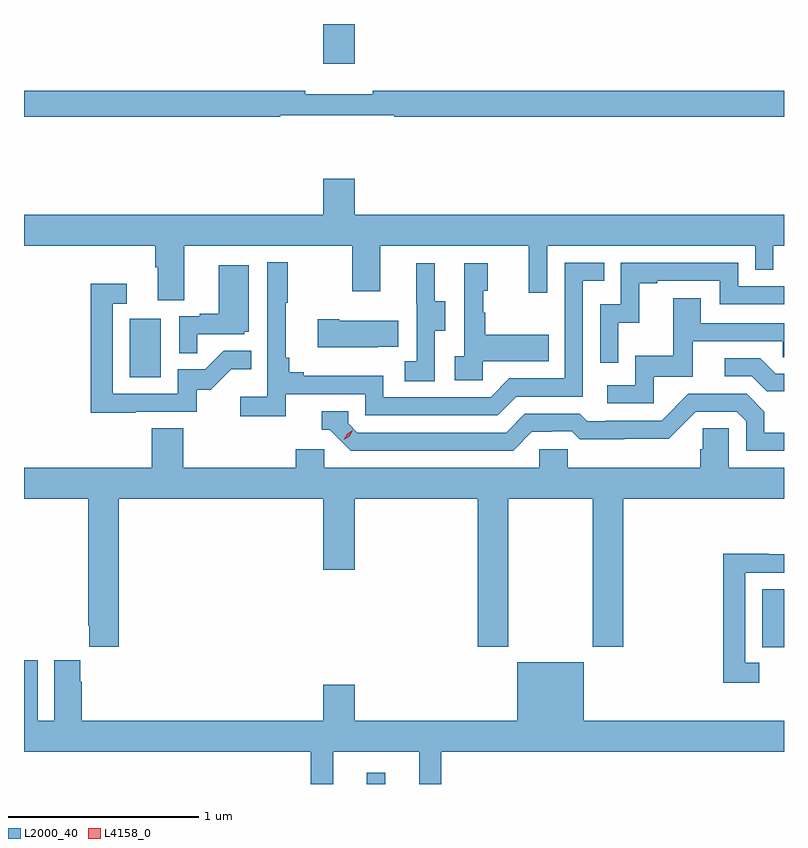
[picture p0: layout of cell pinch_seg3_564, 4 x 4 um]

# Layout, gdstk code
import gdstk
lib = gdstk.Library(unit=1e-6, precision=1e-09)
def R(c, l, rs):  # rectangles x0, y0, x1, y1
    for r in rs: c.add(gdstk.rectangle(r[:2], r[2:], *l))
def P(c, l, *ps):  # polygons
    for p in ps: c.add(gdstk.Polygon(p, *l))
L2000_40 = (2000, 40)
L4158_0 = (4158, 0)

pinch_seg3_564 = lib.new_cell('pinch_seg3_564')
R(pinch_seg3_564, L2000_40, [(1088.313,694.087,1088.41,694.147), (1090.394,694.806,1090.508,695.113), (1087.064,696.228,1087.228,696.535), (1088.084,697.878,1088.248,698.087)])
P(pinch_seg3_564, L2000_40, [(1087.856,697.608),(1088.456,697.608),(1088.456,697.6),(1090.508,697.6),(1090.508,697.736),(1088.344,697.736),(1088.344,697.717),(1087.988,697.717),(1087.988,697.736),(1086.508,697.736),(1086.508,697.6),(1087.856,697.6)],
  [(1087.351,696.92),(1088.236,696.92),(1088.236,696.681),(1088.383,696.681),(1088.383,696.92),(1089.164,696.92),(1089.164,696.672),(1089.261,696.672),(1089.261,696.92),(1090.356,696.92),(1090.356,696.793),(1090.452,696.793),(1090.452,696.92),(1090.508,696.92),(1090.508,697.084),(1088.248,697.084),(1088.248,697.273),(1088.084,697.273),(1088.084,697.084),(1086.508,697.084),(1086.508,696.92),(1087.199,696.92),(1087.199,696.808),(1087.211,696.808),(1087.211,696.634),(1087.351,696.634)],
  [(1087.886,696.138),(1088.304,696.138),(1088.304,696.027),(1089.001,696.027),(1089.1,696.126),(1089.45,696.126),(1089.45,696.735),(1089.563,696.735),(1089.563,696.831),(1089.354,696.831),(1089.354,696.222),(1089.063,696.222),(1088.964,696.123),(1088.4,696.123),(1088.4,696.235),(1087.981,696.235),(1087.981,696.254),(1087.904,696.254),(1087.904,696.331),(1087.885,696.331),(1087.885,696.619),(1087.897,696.619),(1087.897,696.832),(1087.788,696.832),(1087.788,696.124),(1087.647,696.124),(1087.647,696.022),(1087.886,696.022)],
  [(1089.636,696.515),(1089.746,696.515),(1089.746,696.723),(1089.841,696.723),(1089.841,696.735),(1090.17,696.735),(1090.17,696.612),(1090.508,696.612),(1090.508,696.708),(1090.266,696.708),(1090.266,696.831),(1089.648,696.831),(1089.648,696.612),(1089.54,696.612),(1089.54,696.303),(1089.636,696.303)],
  [(1088.67,696.472),(1088.725,696.472),(1088.725,696.627),(1088.671,696.627),(1088.671,696.829),(1088.573,696.829),(1088.573,696.615),(1088.574,696.615),(1088.574,696.311),(1088.511,696.311),(1088.511,696.208),(1088.67,696.208)],
  [(1088.922,696.311),(1089.269,696.311),(1089.269,696.451),(1088.935,696.451),(1088.935,696.566),(1088.925,696.566),(1088.925,696.684),(1088.95,696.684),(1088.95,696.829),(1088.826,696.829),(1088.826,696.338),(1088.775,696.338),(1088.775,696.213),(1088.922,696.213)],
  [(1087.421,696.453),(1087.668,696.453),(1087.668,696.468),(1087.69,696.468),(1087.69,696.817),(1087.532,696.817),(1087.532,696.562),(1087.433,696.562),(1087.433,696.549),(1087.326,696.549),(1087.326,696.355),(1087.421,696.355)],
  [(1087.097,696.045),(1087.416,696.045),(1087.416,696.162),(1087.492,696.162),(1087.599,696.269),(1087.703,696.269),(1087.703,696.368),(1087.559,696.368),(1087.461,696.27),(1087.317,696.27),(1087.317,696.141),(1086.975,696.141),(1086.975,696.615),(1087.048,696.615),(1087.048,696.721),(1086.859,696.721),(1086.859,696.04),(1087.097,696.04)],
  [(1089.822,696.231),(1090.027,696.231),(1090.027,696.417),(1090.501,696.417),(1090.501,696.333),(1090.508,696.333),(1090.508,696.513),(1090.069,696.513),(1090.069,696.643),(1089.925,696.643),(1089.925,696.34),(1089.726,696.34),(1089.726,696.186),(1089.579,696.186),(1089.579,696.09),(1089.822,696.09)],
  [(1088.369,696.389),(1088.477,696.389),(1088.477,696.526),(1088.167,696.526),(1088.167,696.534),(1088.055,696.534),(1088.055,696.386),(1088.369,696.386)],
  [(1090.508,696.246),(1090.465,696.246),(1090.384,696.327),(1090.197,696.327),(1090.197,696.234),(1090.338,696.234),(1090.418,696.154),(1090.508,696.154)],
  [(1089.181,695.94),(1089.288,695.94),(1089.288,695.943),(1089.391,695.943),(1089.433,695.901),(1089.666,695.901),(1089.666,695.903),(1089.902,695.903),(1090.044,696.045),(1090.26,696.045),(1090.308,695.997),(1090.308,695.841),(1090.508,695.841),(1090.508,695.937),(1090.405,695.937),(1090.405,696.047),(1090.311,696.141),(1090.005,696.141),(1089.864,696),(1089.571,696),(1089.571,695.997),(1089.472,695.997),(1089.433,696.036),(1089.144,696.036),(1089.045,695.937),(1088.262,695.937),(1088.214,695.985),(1088.214,696.048),(1088.075,696.048),(1088.075,695.952),(1088.118,695.952),(1088.229,695.841),(1089.082,695.841)],
  [(1086.508,695.588),(1086.847,695.588),(1086.847,694.921),(1086.851,694.921),(1086.851,694.809),(1087.007,694.809),(1087.007,695.588),(1088.084,695.588),(1088.084,695.214),(1088.248,695.214),(1088.248,695.588),(1088.897,695.588),(1088.897,694.809),(1089.057,694.809),(1089.057,695.588),(1089.502,695.588),(1089.502,694.809),(1089.662,694.809),(1089.662,695.588),(1090.508,695.588),(1090.508,695.752),(1090.218,695.752),(1090.218,695.96),(1090.081,695.96),(1090.081,695.85),(1090.067,695.85),(1090.067,695.752),(1089.369,695.752),(1089.369,695.85),(1089.219,695.85),(1089.219,695.752),(1088.088,695.752),(1088.088,695.85),(1087.937,695.85),(1087.937,695.752),(1087.346,695.752),(1087.346,695.96),(1087.181,695.96),(1087.181,695.752),(1086.508,695.752)],
  [(1090.378,694.725),(1090.305,694.725),(1090.305,695.199),(1090.508,695.199),(1090.508,695.295),(1090.427,695.295),(1090.427,695.3),(1090.189,695.3),(1090.189,694.62),(1090.378,694.62)],
  [(1088.135,694.256),(1088.588,694.256),(1088.588,694.087),(1088.705,694.087),(1088.705,694.256),(1090.508,694.256),(1090.508,694.42),(1089.454,694.42),(1089.454,694.729),(1089.104,694.729),(1089.104,694.42),(1088.248,694.42),(1088.248,694.609),(1088.084,694.609),(1088.084,694.42),(1086.812,694.42),(1086.812,694.625),(1086.805,694.625),(1086.805,694.738),(1086.668,694.738),(1086.668,694.42),(1086.58,694.42),(1086.58,694.738),(1086.508,694.738),(1086.508,694.256),(1088.017,694.256),(1088.017,694.087),(1088.135,694.087)])
P(pinch_seg3_564, L4158_0, [(1088.192,695.898),(1088.192,695.898),(1088.208,695.93),(1088.239,695.95),(1088.239,695.95),(1088.239,695.949),(1088.223,695.917),(1088.192,695.898)])

lib.write_gds('pinch_seg3_564.gds')
